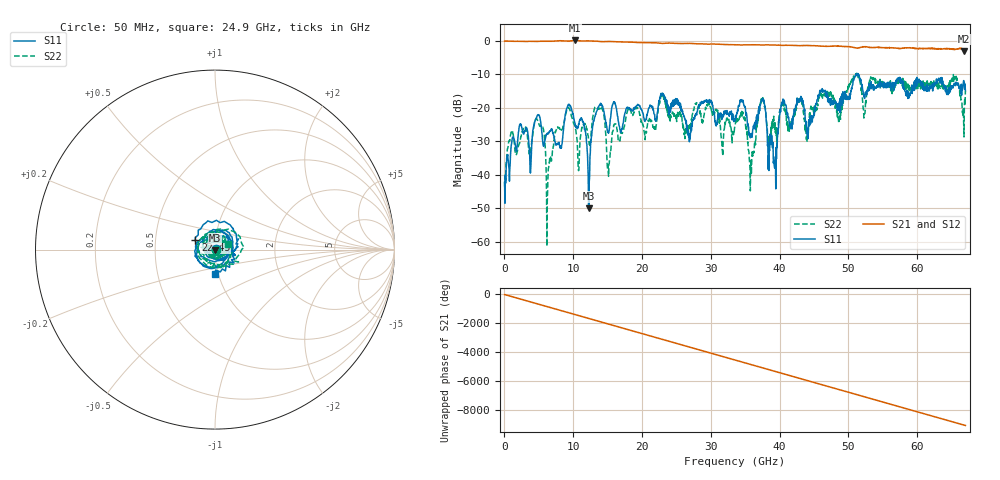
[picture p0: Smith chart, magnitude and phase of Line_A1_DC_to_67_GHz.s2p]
#  HZ  S  MA  R  50.00
! Rohde & Schwarz ZVA67 4Ports - Version 4.11 - 1305.7002k04 SN: 101051
! Date: 2023-05-31 14:23:48
! Measurements: S11 S21 S12 S22
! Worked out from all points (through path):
!   1340 points, 50 MHz to 67 GHz, reference 50 ohm
!   highest |S21| = 0.14 dB at 10.3 GHz (marker M1); lowest = -3.0 dB at 66.85 GHz (marker M2)
!   group delay of S21, straight-line fit = 375 ps
!   lowest |S11| = -50.0 dB at 12.25 GHz (marker M3), VSWR 1.01, Z = 50.1 - j0.285 ohm
!   |S11| at or under -10 dB: start of sweep to 51.13 GHz; 51.17318 GHz to 51.23518 GHz (62 MHz wide, 0.121 % of centre); 51.43 GHz to end of sweep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
!   |S22| runs from -61.3 to -9.7 dB; largest |S21 - S12| = 0.3
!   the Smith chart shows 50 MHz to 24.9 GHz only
!   S11 on the Smith chart (normalised r, x): 50 MHz: 1.01, +0.01; 22.45 GHz: 0.80, +0.09; 24.9 GHz: 0.96, -0.27
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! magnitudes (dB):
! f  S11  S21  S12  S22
! 50 MHz  -42.3  0.0  -0.1  -42.2
! 2.35 GHz  -24.8  -0.1  -0.1  -29.3
! 5.4 GHz  -25.9  -0.1  -0.1  -25.7
! 6.35 GHz  -27.6  -0.1  -0.1  -40.7
! 7.65 GHz  -31.0  0.0  0.0  -26.4
! 10.3 GHz  -24.7  0.1  0.2  -25.6
! 11.25 GHz  -23.4  0.0  0.0  -26.1
! 12.25 GHz  -50.0  0.0  0.0  -29.5
! 13.85 GHz  -19.1  -0.2  -0.2  -20.1
! 15.2 GHz  -27.1  -0.1  -0.2  -36.9
! 22.4 GHz  -19.1  -0.6  -0.6  -19.9
! 22.45 GHz  -18.3  -0.7  -0.7  -19.2
! 24.9 GHz  -17.2  -0.7  -0.7  -22.3
! 33.55 GHz  -23.8  -1.1  -1.2  -25.3
! 35.9 GHz  -27.7  -1.2  -1.1  -40.0
! 37.55 GHz  -17.2  -1.2  -1.3  -16.9
! 39.25 GHz  -37.7  -1.2  -1.3  -24.4
! 40.5 GHz  -17.4  -1.3  -1.4  -18.8
! 44.7 GHz  -22.8  -1.4  -1.4  -20.5
! 55.85 GHz  -13.6  -2.0  -2.0  -13.9
! 66.85 GHz  -12.5  -3.0  -3.0  -19.5
! 67 GHz  -14.9  -2.8  -2.7  -15.0
